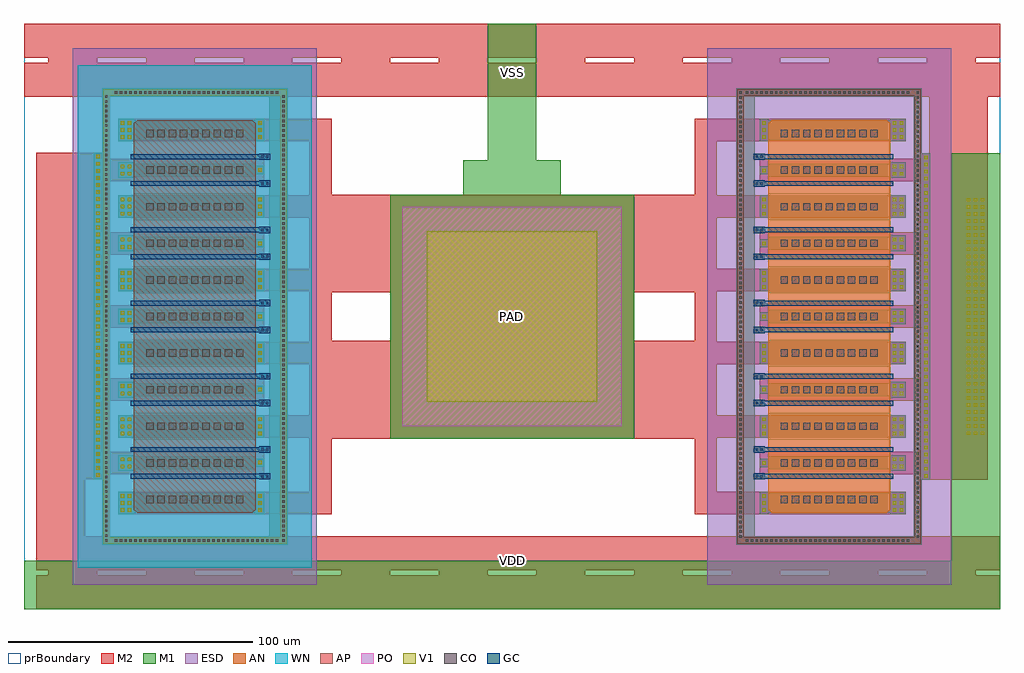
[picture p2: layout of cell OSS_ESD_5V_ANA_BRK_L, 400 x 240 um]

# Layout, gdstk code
from math import pi, radians
import gdstk
lib = gdstk.Library(unit=1e-6, precision=1e-09)
def R(c, l, rs):  # rectangles x0, y0, x1, y1
    for r in rs: c.add(gdstk.rectangle(r[:2], r[2:], *l))
def A(c, l, x, y, w, h, nx, ny, dx, dy):  # array of equal rectangles
    R(c, l, [(x+i*dx, y+j*dy, x+i*dx+w, y+j*dy+h) for i in range(nx) for j in range(ny)])
def P(c, l, *ps):  # polygons
    for p in ps: c.add(gdstk.Polygon(p, *l))
AP = (3, 1)
AN = (3, 2)
GC = (8, 1)
CO = (11, 0)
M1 = (13, 0)
PO = (14, 0)
V1 = (19, 0)
M2 = (20, 0)
ESD = (63, 2)
WN = (140, 0)
prBoundary = (235, 0)

oss_wlmn_cdns = lib.new_cell('OSS_WLMN_CDNS')

oss_mne_cdns = lib.new_cell('OSS_MNE_CDNS')
P(oss_mne_cdns, AN, [(1.4,0),(0,1.4),(0,48.6),(1.4,50),(24.6,50),(26,48.6),(26,1.4),(24.6,0)],
  [(1.4,0),(0,1.4),(0,48.6),(1.4,50),(24.6,50),(26,48.6),(26,1.4),(24.6,0)])
R(oss_mne_cdns, GC, [(10,-1.2,12,51.2)])
A(oss_mne_cdns, CO, 4, 5.1, 3, 3, 1, 9, 0, 4.6)
A(oss_mne_cdns, CO, 19, 5.1, 3, 3, 1, 9, 0, 4.6)
R(oss_mne_cdns, M1, [(2.8,0,8.2,50), (17.8,0,26,50)])

oss_nch_esd = lib.new_cell('OSS_NCH_ESD')
P(oss_nch_esd, AP, [(-93.1,-37.6),(-93.1,35),(-90.5,35),(-90.5,-35),(90.5,-35),(90.5,35),(-93.1,35),(-93.1,37.6),(93.1,37.6),(93.1,-37.6)])
P(oss_nch_esd, GC, [(-66.5,26.2),(-66.5,26.4),(-66.8,26.4),(-66.8,31),(-64.2,31),(-64.2,26.4),(-64.5,26.4),(-64.5,26.2)],
  [(-55.5,26.2),(-55.5,26.4),(-55.8,26.4),(-55.8,31),(-53.2,31),(-53.2,26.4),(-53.5,26.4),(-53.5,26.2)],
  [(-36.5,26.2),(-36.5,26.4),(-36.8,26.4),(-36.8,31),(-34.2,31),(-34.2,26.4),(-34.5,26.4),(-34.5,26.2)],
  [(-25.5,26.2),(-25.5,26.4),(-25.8,26.4),(-25.8,31),(-23.2,31),(-23.2,26.4),(-23.5,26.4),(-23.5,26.2)],
  [(-6.5,26.2),(-6.5,26.4),(-6.8,26.4),(-6.8,31),(-4.2,31),(-4.2,26.4),(-4.5,26.4),(-4.5,26.2)],
  [(4.5,26.2),(4.5,26.4),(4.2,26.4),(4.2,31),(6.8,31),(6.8,26.4),(6.5,26.4),(6.5,26.2)],
  [(23.5,26.2),(23.5,26.4),(23.2,26.4),(23.2,31),(25.8,31),(25.8,26.4),(25.5,26.4),(25.5,26.2)],
  [(34.5,26.2),(34.5,26.4),(34.2,26.4),(34.2,31),(36.8,31),(36.8,26.4),(36.5,26.4),(36.5,26.2)],
  [(53.5,26.2),(53.5,26.4),(53.2,26.4),(53.2,31),(55.8,31),(55.8,26.4),(55.5,26.4),(55.5,26.2)],
  [(64.5,26.2),(64.5,26.4),(64.2,26.4),(64.2,31),(66.8,31),(66.8,26.4),(66.5,26.4),(66.5,26.2)])
A(oss_nch_esd, CO, -90.7, -36.8, 1, 1, 92, 2, 2, 72.6)
A(oss_nch_esd, CO, -92.3, -32.8, 1, 1, 1, 34, 0, 2)
A(oss_nch_esd, CO, 91.3, -32.8, 1, 1, 1, 34, 0, 2)
R(oss_nch_esd, CO, [(-66,27.2,-65,28.2), (-55,27.2,-54,28.2), (-36,27.2,-35,28.2), (-25,27.2,-24,28.2), (-6,27.2,-5,28.2), (5,27.2,6,28.2), (24,27.2,25,28.2), (35,27.2,36,28.2), (54,27.2,55,28.2), (65,27.2,66,28.2), (-66,29.2,-65,30.2), (-55,29.2,-54,30.2), (-36,29.2,-35,30.2), (-25,29.2,-24,30.2), (-6,29.2,-5,30.2), (5,29.2,6,30.2), (24,29.2,25,30.2), (35,29.2,36,30.2), (54,29.2,55,30.2), (65,29.2,66,30.2)])
A(oss_nch_esd, M1, -49.6, -31.3, 9.2, 6.3, 4, 1, 30, 0)
A(oss_nch_esd, M1, -61.7, 25, 3.4, 3.4, 4, 1, 30, 0)
A(oss_nch_esd, M1, -49.6, 25, 9.2, 3.4, 4, 1, 30, 0)
R(oss_nch_esd, M1, [(-67,-41.4,66.9,-38), (-93.1,-37.6,93.1,-35), (-93.1,-35,-90.5,35), (90.5,-35,93.1,35), (-81,-31.3,-71.8,-25), (-63.2,-31.3,-59.8,-25), (-60.2,-31.3,-56.8,-25), (-33.2,-31.3,-29.8,-25), (-30.2,-31.3,-26.8,-25), (-3.2,-31.3,0.2,-25), (-0.2,-31.3,3.2,-25), (26.8,-31.3,30.2,-25), (29.8,-31.3,33.2,-25), (56.8,-31.3,60.2,-25), (59.8,-31.3,63.2,-25), (71.8,-31.3,81,-25), (-81,25,-71.8,28.4), (58.2,25,61.6,28.4), (71.8,25,81,28.4), (-66.8,26.4,-64.2,31), (-55.8,26.4,-53.2,31), (-36.8,26.4,-34.2,31), (-25.8,26.4,-23.2,31), (-6.8,26.4,-4.2,31), (4.2,26.4,6.8,31), (23.2,26.4,25.8,31), (34.2,26.4,36.8,31), (53.2,26.4,55.8,31), (64.2,26.4,66.8,31), (-90.5,30.6,90.5,35), (-93.1,35,93.1,37.6)])
A(oss_nch_esd, V1, -66, -40.4, 1.4, 1.4, 46, 1, 2.9, 0)
A(oss_nch_esd, V1, -80, -30.3, 1.4, 1.4, 3, 2, 2.9, 2.9)
A(oss_nch_esd, V1, -48.6, -30.3, 1.4, 1.4, 3, 2, 2.9, 2.9)
A(oss_nch_esd, V1, -18.6, -30.3, 1.4, 1.4, 3, 2, 2.9, 2.9)
A(oss_nch_esd, V1, 11.4, -30.3, 1.4, 1.4, 3, 2, 2.9, 2.9)
A(oss_nch_esd, V1, 41.4, -30.3, 1.4, 1.4, 3, 2, 2.9, 2.9)
A(oss_nch_esd, V1, 72.8, -30.3, 1.4, 1.4, 3, 2, 2.9, 2.9)
A(oss_nch_esd, V1, -80, 26, 1.4, 1.4, 3, 1, 2.9, 0)
A(oss_nch_esd, V1, -48.6, 26, 1.4, 1.4, 3, 1, 2.9, 0)
A(oss_nch_esd, V1, -18.6, 26, 1.4, 1.4, 3, 1, 2.9, 0)
A(oss_nch_esd, V1, 11.4, 26, 1.4, 1.4, 3, 1, 2.9, 0)
A(oss_nch_esd, V1, 41.4, 26, 1.4, 1.4, 3, 1, 2.9, 0)
A(oss_nch_esd, V1, 72.8, 26, 1.4, 1.4, 3, 1, 2.9, 0)
R(oss_nch_esd, V1, [(-62.2,-30.3,-60.8,-28.9), (-59.2,-30.3,-57.8,-28.9), (-32.2,-30.3,-30.8,-28.9), (-29.2,-30.3,-27.8,-28.9), (-2.2,-30.3,-0.8,-28.9), (0.8,-30.3,2.2,-28.9), (27.8,-30.3,29.2,-28.9), (30.8,-30.3,32.2,-28.9), (57.8,-30.3,59.2,-28.9), (60.8,-30.3,62.2,-28.9), (-62.2,-27.4,-60.8,-26), (-59.2,-27.4,-57.8,-26), (-32.2,-27.4,-30.8,-26), (-29.2,-27.4,-27.8,-26), (-2.2,-27.4,-0.8,-26), (0.8,-27.4,2.2,-26), (27.8,-27.4,29.2,-26), (30.8,-27.4,32.2,-26), (57.8,-27.4,59.2,-26), (60.8,-27.4,62.2,-26), (-60.7,26,-59.3,27.4), (-30.7,26,-29.3,27.4), (-0.7,26,0.7,27.4), (29.3,26,30.7,27.4), (59.2,26,60.6,27.4)])
P(oss_nch_esd, M2, [(-67,-50),(-67,-38),(-64.6,-38),(-64.6,28.4),(-55.4,28.4),(-55.4,-38),(-34.6,-38),(-34.6,28.4),(-25.4,28.4),(-25.4,-38),(-4.6,-38),(-4.6,28.4),(4.6,28.4),(4.6,-38),(25.4,-38),(25.4,28.4),(34.6,28.4),(34.6,-38),(55.4,-38),(55.4,28.4),(64.6,28.4),(64.6,-38),(66.9,-38),(66.9,-50)],
  [(-81,-31.3),(-81,50),(81,50),(81,-31.3),(71.8,-31.3),(71.8,46),(49.6,46),(49.6,-31.3),(40.4,-31.3),(40.4,46),(19.6,46),(19.6,-31.3),(10.4,-31.3),(10.4,46),(-10.4,46),(-10.4,-31.3),(-19.6,-31.3),(-19.6,46),(-40.4,46),(-40.4,-31.3),(-49.6,-31.3),(-49.6,46),(-71.8,46),(-71.8,-31.3)])
R(oss_nch_esd, ESD, [(-110,-50,110,50)])
oss_nch_esd.add(gdstk.FlexPath([(93.5,36.3),(-93.1,36.3)], 3.4, ends="flush", simple_path=True, layer=13, datatype=0))  # M1
oss_nch_esd.add(gdstk.FlexPath([(91.8,38),(91.8,-38)], 3.4, ends="flush", simple_path=True, layer=13, datatype=0))  # M1
oss_nch_esd.add(gdstk.FlexPath([(93.5,-36.3),(-93.5,-36.3)], 3.4, ends="flush", simple_path=True, layer=13, datatype=0))  # M1
oss_nch_esd.add(gdstk.FlexPath([(-91.8,38),(-91.8,-38)], 3.4, ends="flush", simple_path=True, layer=13, datatype=0))  # M1
oss_nch_esd.add(gdstk.Reference(oss_wlmn_cdns, (0,0), rotation=pi))
oss_nch_esd.add(gdstk.Reference(oss_mne_cdns, (-5.5,25), x_reflection=True))
oss_nch_esd.add(gdstk.Reference(oss_mne_cdns, (24.5,25), x_reflection=True))
oss_nch_esd.add(gdstk.Reference(oss_mne_cdns, (5.5,25), rotation=pi))
oss_nch_esd.add(gdstk.Reference(oss_mne_cdns, (65.5,25), rotation=pi))
oss_nch_esd.add(gdstk.Reference(oss_mne_cdns, (35.5,25), rotation=pi))
oss_nch_esd.add(gdstk.Reference(oss_mne_cdns, (54.5,25), x_reflection=True))
oss_nch_esd.add(gdstk.Reference(oss_mne_cdns, (-35.5,25), x_reflection=True))
oss_nch_esd.add(gdstk.Reference(oss_mne_cdns, (-24.5,25), rotation=pi))
oss_nch_esd.add(gdstk.Reference(oss_mne_cdns, (-65.5,25), x_reflection=True))
oss_nch_esd.add(gdstk.Reference(oss_mne_cdns, (-54.5,25), rotation=pi))
oss_nch_esd.add(gdstk.Label('VSS', (0,-46), layer=49, texttype=0))
oss_nch_esd.add(gdstk.Label('PAD', (0,48), layer=49, texttype=0))

oss_mpe_cdns = lib.new_cell('OSS_MPE_CDNS')
P(oss_mpe_cdns, AP, [(1.4,0),(0,1.4),(0,48.6),(1.4,50),(24.6,50),(26,48.6),(26,1.4),(24.6,0)])
R(oss_mpe_cdns, GC, [(10,-1.2,12,51.2)])
A(oss_mpe_cdns, CO, 4, 5.1, 3, 3, 1, 9, 0, 4.6)
A(oss_mpe_cdns, CO, 19, 5.1, 3, 3, 1, 9, 0, 4.6)
R(oss_mpe_cdns, M1, [(2.8,0,8.2,50), (17.8,0,26,50)])

oss_wlmp_cdns = lib.new_cell('OSS_WLMP_CDNS')
R(oss_wlmp_cdns, WN, [(-103,-48,103,48)])

oss_pch_esd = lib.new_cell('OSS_PCH_ESD')
P(oss_pch_esd, AN, [(-93.1,-37.6),(-93.1,35),(-90.5,35),(-90.5,-35),(90.5,-35),(90.5,35),(-93.1,35),(-93.1,37.6),(93.1,37.6),(93.1,-37.6)],
  [(-93.1,-37.6),(-93.1,35),(-90.5,35),(-90.5,-35),(90.5,-35),(90.5,35),(-93.1,35),(-93.1,37.6),(93.1,37.6),(93.1,-37.6)])
P(oss_pch_esd, GC, [(-66.8,-31),(-66.8,-26.4),(-66.5,-26.4),(-66.5,-26.2),(-64.5,-26.2),(-64.5,-26.4),(-64.2,-26.4),(-64.2,-31)],
  [(-55.8,-31),(-55.8,-26.4),(-55.5,-26.4),(-55.5,-26.2),(-53.5,-26.2),(-53.5,-26.4),(-53.2,-26.4),(-53.2,-31)],
  [(-36.8,-31),(-36.8,-26.4),(-36.5,-26.4),(-36.5,-26.2),(-34.5,-26.2),(-34.5,-26.4),(-34.2,-26.4),(-34.2,-31)],
  [(-25.8,-31),(-25.8,-26.4),(-25.5,-26.4),(-25.5,-26.2),(-23.5,-26.2),(-23.5,-26.4),(-23.2,-26.4),(-23.2,-31)],
  [(-6.8,-31),(-6.8,-26.4),(-6.5,-26.4),(-6.5,-26.2),(-4.5,-26.2),(-4.5,-26.4),(-4.2,-26.4),(-4.2,-31)],
  [(4.2,-31),(4.2,-26.4),(4.5,-26.4),(4.5,-26.2),(6.5,-26.2),(6.5,-26.4),(6.8,-26.4),(6.8,-31)],
  [(23.2,-31),(23.2,-26.4),(23.5,-26.4),(23.5,-26.2),(25.5,-26.2),(25.5,-26.4),(25.8,-26.4),(25.8,-31)],
  [(34.2,-31),(34.2,-26.4),(34.5,-26.4),(34.5,-26.2),(36.5,-26.2),(36.5,-26.4),(36.8,-26.4),(36.8,-31)],
  [(53.2,-31),(53.2,-26.4),(53.5,-26.4),(53.5,-26.2),(55.5,-26.2),(55.5,-26.4),(55.8,-26.4),(55.8,-31)],
  [(64.2,-31),(64.2,-26.4),(64.5,-26.4),(64.5,-26.2),(66.5,-26.2),(66.5,-26.4),(66.8,-26.4),(66.8,-31)])
A(oss_pch_esd, CO, -92.3, -36.8, 1, 1, 92, 2, 2, 72.6)
A(oss_pch_esd, CO, -92.3, -34.2, 1, 1, 1, 34, 0, 2)
A(oss_pch_esd, CO, 91.3, -34.2, 1, 1, 1, 34, 0, 2)
R(oss_pch_esd, CO, [(-66,-30.2,-65,-29.2), (-55,-30.2,-54,-29.2), (-36,-30.2,-35,-29.2), (-25,-30.2,-24,-29.2), (-6,-30.2,-5,-29.2), (5,-30.2,6,-29.2), (24,-30.2,25,-29.2), (35,-30.2,36,-29.2), (54,-30.2,55,-29.2), (65,-30.2,66,-29.2), (-66,-28.2,-65,-27.2), (-55,-28.2,-54,-27.2), (-36,-28.2,-35,-27.2), (-25,-28.2,-24,-27.2), (-6,-28.2,-5,-27.2), (5,-28.2,6,-27.2), (24,-28.2,25,-27.2), (35,-28.2,36,-27.2), (54,-28.2,55,-27.2), (65,-28.2,66,-27.2)])
A(oss_pch_esd, M1, -49.6, -28.4, 9.2, 3.4, 4, 1, 30, 0)
A(oss_pch_esd, M1, -31.7, -28.4, 3.4, 3.4, 4, 1, 30, 0)
A(oss_pch_esd, M1, -49.6, 25, 9.2, 6.3, 4, 1, 30, 0)
R(oss_pch_esd, M1, [(-93.1,-37.6,93.1,-35), (-93.1,-35,-90.5,35), (-90.5,-35,90.5,-30.6), (90.5,-35,93.1,35), (-66.8,-31,-64.2,-26.4), (-55.8,-31,-53.2,-26.4), (-36.8,-31,-34.2,-26.4), (-25.8,-31,-23.2,-26.4), (-6.8,-31,-4.2,-26.4), (4.2,-31,6.8,-26.4), (23.2,-31,25.8,-26.4), (34.2,-31,36.8,-26.4), (53.2,-31,55.8,-26.4), (64.2,-31,66.8,-26.4), (-81,-28.4,-71.8,-25), (-61.6,-28.4,-58.2,-25), (71.8,-28.4,81,-25), (-81,25,-71.8,31.3), (-63.2,25,-59.8,31.3), (-60.2,25,-56.8,31.3), (-33.2,25,-29.8,31.3), (-30.2,25,-26.8,31.3), (-3.2,25,0.2,31.3), (-0.2,25,3.2,31.3), (26.8,25,30.2,31.3), (29.8,25,33.2,31.3), (56.8,25,60.2,31.3), (59.8,25,63.2,31.3), (71.8,25,81,31.3), (-93.1,35,93.1,37.6), (-66.7,38,67.2,41.4)])
A(oss_pch_esd, V1, -80, -27.4, 1.4, 1.4, 3, 2, 2.9, 53.4)
A(oss_pch_esd, V1, -48.6, -27.4, 1.4, 1.4, 3, 2, 2.9, 53.4)
A(oss_pch_esd, V1, -18.6, -27.4, 1.4, 1.4, 3, 2, 2.9, 53.4)
A(oss_pch_esd, V1, 11.4, -27.4, 1.4, 1.4, 3, 2, 2.9, 53.4)
A(oss_pch_esd, V1, 41.4, -27.4, 1.4, 1.4, 3, 2, 2.9, 53.4)
A(oss_pch_esd, V1, 72.8, -27.4, 1.4, 1.4, 3, 2, 2.9, 53.4)
A(oss_pch_esd, V1, -80, 28.9, 1.4, 1.4, 3, 1, 2.9, 0)
A(oss_pch_esd, V1, -48.6, 28.9, 1.4, 1.4, 3, 1, 2.9, 0)
A(oss_pch_esd, V1, -18.6, 28.9, 1.4, 1.4, 3, 1, 2.9, 0)
A(oss_pch_esd, V1, 11.4, 28.9, 1.4, 1.4, 3, 1, 2.9, 0)
A(oss_pch_esd, V1, 41.4, 28.9, 1.4, 1.4, 3, 1, 2.9, 0)
A(oss_pch_esd, V1, 72.8, 28.9, 1.4, 1.4, 3, 1, 2.9, 0)
A(oss_pch_esd, V1, -65.7, 39, 1.4, 1.4, 46, 1, 2.9, 0)
R(oss_pch_esd, V1, [(-60.6,-27.4,-59.2,-26), (-30.7,-27.4,-29.3,-26), (-0.7,-27.4,0.7,-26), (29.3,-27.4,30.7,-26), (59.3,-27.4,60.7,-26), (-62.2,26,-60.8,27.4), (-59.2,26,-57.8,27.4), (-32.2,26,-30.8,27.4), (-29.2,26,-27.8,27.4), (-2.2,26,-0.8,27.4), (0.8,26,2.2,27.4), (27.8,26,29.2,27.4), (30.8,26,32.2,27.4), (57.8,26,59.2,27.4), (60.8,26,62.2,27.4), (-62.2,28.9,-60.8,30.3), (-59.2,28.9,-57.8,30.3), (-32.2,28.9,-30.8,30.3), (-29.2,28.9,-27.8,30.3), (-2.2,28.9,-0.8,30.3), (0.8,28.9,2.2,30.3), (27.8,28.9,29.2,30.3), (30.8,28.9,32.2,30.3), (57.8,28.9,59.2,30.3), (60.8,28.9,62.2,30.3)])
P(oss_pch_esd, M2, [(-81,-50),(-81,31.3),(-71.8,31.3),(-71.8,-47),(-49.6,-47),(-49.6,31.3),(-40.4,31.3),(-40.4,-47),(-19.6,-47),(-19.6,31.3),(-10.4,31.3),(-10.4,-47),(10.4,-47),(10.4,31.3),(19.6,31.3),(19.6,-47),(40.4,-47),(40.4,31.3),(49.6,31.3),(49.6,-47),(71.8,-47),(71.8,31.3),(81,31.3),(81,-50)],
  [(-64.6,-28.4),(-64.6,38),(-66.7,38),(-66.7,50),(67.2,50),(67.2,38),(64.6,38),(64.6,-28.4),(55.4,-28.4),(55.4,38),(34.6,38),(34.6,-28.4),(25.4,-28.4),(25.4,38),(4.6,38),(4.6,-28.4),(-4.6,-28.4),(-4.6,38),(-25.4,38),(-25.4,-28.4),(-34.6,-28.4),(-34.6,38),(-55.4,38),(-55.4,-28.4)])
R(oss_pch_esd, ESD, [(-110,-50,110,50)])
oss_pch_esd.add(gdstk.FlexPath([(65.5,-29.7),(65.5,-31.9),(-65.5,-31.9),(-65.5,-29.7)], 2.6, ends="flush", simple_path=True, layer=13, datatype=0))  # M1
oss_pch_esd.add(gdstk.FlexPath([(-93.5,-36.3),(93.5,-36.3)], 3.4, ends="flush", simple_path=True, layer=13, datatype=0))  # M1
oss_pch_esd.add(gdstk.FlexPath([(-93.5,36.3),(93.5,36.3)], 3.4, ends="flush", simple_path=True, layer=13, datatype=0))  # M1
oss_pch_esd.add(gdstk.FlexPath([(-91.8,-38),(-91.8,38)], 3.4, ends="flush", simple_path=True, layer=13, datatype=0))  # M1
oss_pch_esd.add(gdstk.FlexPath([(91.8,-38),(91.8,38)], 3.4, ends="flush", simple_path=True, layer=13, datatype=0))  # M1
oss_pch_esd.add(gdstk.Reference(oss_mpe_cdns, (5.5,-25), rotation=pi, x_reflection=True))
oss_pch_esd.add(gdstk.Reference(oss_mpe_cdns, (-35.5,-25)))
oss_pch_esd.add(gdstk.Reference(oss_mpe_cdns, (24.5,-25)))
oss_pch_esd.add(gdstk.Reference(oss_mpe_cdns, (35.5,-25), rotation=pi, x_reflection=True))
oss_pch_esd.add(gdstk.Reference(oss_mpe_cdns, (-5.5,-25)))
oss_pch_esd.add(gdstk.Reference(oss_mpe_cdns, (65.5,-25), rotation=pi, x_reflection=True))
oss_pch_esd.add(gdstk.Reference(oss_mpe_cdns, (54.5,-25)))
oss_pch_esd.add(gdstk.Reference(oss_mpe_cdns, (-54.5,-25), rotation=pi, x_reflection=True))
oss_pch_esd.add(gdstk.Reference(oss_mpe_cdns, (-65.5,-25)))
oss_pch_esd.add(gdstk.Reference(oss_mpe_cdns, (-24.5,-25), rotation=pi, x_reflection=True))
oss_pch_esd.add(gdstk.Reference(oss_wlmp_cdns, (0,0)))
oss_pch_esd.add(gdstk.Label('VDD', (0,45), layer=49, texttype=0))
oss_pch_esd.add(gdstk.Label('PAD', (0,-49), layer=49, texttype=0))

via_1 = lib.new_cell('via_1')
R(via_1, M1, [(-5,-50,5,50)])
A(via_1, V1, -3.6, -48.55, 1.4, 1.4, 3, 34, 2.9, 2.9)
R(via_1, M2, [(-5,-50,5,50)])

oss_pad = lib.new_cell('OSS_PAD')
R(oss_pad, M1, [(-50,-50,50,50)])
R(oss_pad, PO, [(-45,-45,45,45)])
R(oss_pad, V1, [(-35,-35,35,35)])
R(oss_pad, M2, [(-50,-50,50,50)])

oss_esd_5v_ana_brk_l = lib.new_cell('OSS_ESD_5V_ANA_BRK_L')
R(oss_esd_5v_ana_brk_l, M1, [(-20,50,20,64), (-10,50,10,120)])
P(oss_esd_5v_ana_brk_l, M1, [(-200,-120),(-200,-100),(92,-100),(180,-100),(180,66.9),(200,66.9),(200,-100),(200,-120)])
R(oss_esd_5v_ana_brk_l, M2, [(-195,-90,-175,67.2), (-80,-81,-73.8,81), (74.8,-81,80,81), (171,-67,195,90), (-80,-50,-50,-10), (50,-50,80,-10), (-80,10,-50,50), (50,10,80,50)])
P(oss_esd_5v_ana_brk_l, M2, [(-195,-120),(-195,-106),(-190,-106),(-190,-104),(-170,-104),(-170,-106),(-150,-106),(-150,-104),(-130,-104),(-130,-106),(-110,-106),(-110,-104),(-90,-104),(-90,-106),(-70,-106),(-70,-104),(-50,-104),(-50,-106),(-30,-106),(-30,-104),(-195,-104),(-195,-90),(0,-90),(0,-104),(-10,-104),(-10,-106),(0,-106),(0,-120)],
  [(-200,90),(-200,104),(-190,104),(-190,106),(-170,106),(-170,104),(-150,104),(-150,106),(-130,106),(-130,104),(-110,104),(-110,106),(-90,106),(-90,104),(-70,104),(-70,106),(-50,106),(-50,104),(-30,104),(-30,106),(-200,106),(-200,120),(0,120),(0,106),(-10,106),(-10,104),(0,104),(0,90)],
  [(0,-120),(0,-106),(10,-106),(10,-104),(0,-104),(0,-90),(200,-90),(200,-104),(30,-104),(30,-106),(50,-106),(50,-104),(70,-104),(70,-106),(90,-106),(90,-104),(110,-104),(110,-106),(130,-106),(130,-104),(150,-104),(150,-106),(170,-106),(170,-104),(190,-104),(190,-106),(200,-106),(200,-120)],
  [(0,90),(0,104),(10,104),(10,106),(0,106),(0,120),(200,120),(200,106),(30,106),(30,104),(50,104),(50,106),(70,106),(70,104),(90,104),(90,106),(110,106),(110,104),(130,104),(130,106),(150,106),(150,104),(170,104),(170,106),(190,106),(190,104),(200,104),(200,90)])
R(oss_esd_5v_ana_brk_l, prBoundary, [(-200,-120,200,120)])
oss_esd_5v_ana_brk_l.add(gdstk.Reference(oss_nch_esd, (130,0), rotation=pi/2))
oss_esd_5v_ana_brk_l.add(gdstk.Reference(oss_pch_esd, (-130,0), rotation=pi/2))
oss_esd_5v_ana_brk_l.add(gdstk.Reference(via_1, (190,0)))
oss_esd_5v_ana_brk_l.add(gdstk.Reference(oss_pad, (0,0)))
oss_esd_5v_ana_brk_l.add(gdstk.Label('VSS', (0,100), layer=49, texttype=0))
oss_esd_5v_ana_brk_l.add(gdstk.Label('VDD', (0,-100), layer=49, texttype=0))
oss_esd_5v_ana_brk_l.add(gdstk.Label('PAD', (-0.179,0), layer=49, texttype=0))

lib.write_gds('OSS_ESD_5V_ANA_BRK_L.gds')
